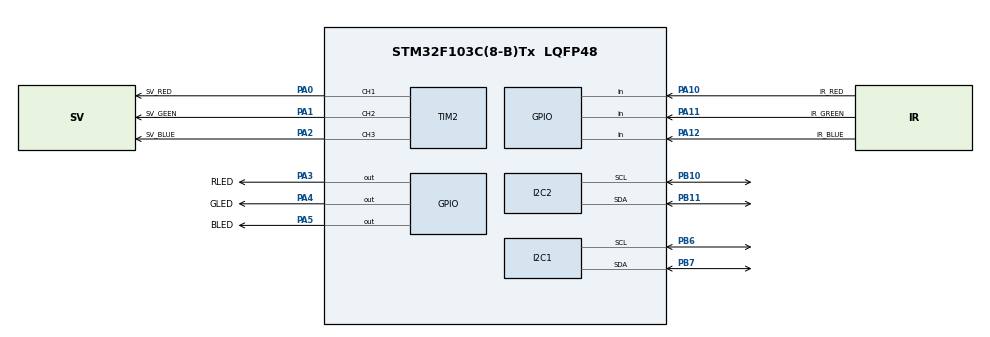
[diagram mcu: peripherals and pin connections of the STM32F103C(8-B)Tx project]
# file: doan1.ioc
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I2C1.I2C_Mode=I2C_Fast
Mcu.Family=STM32F1
Mcu.Name=STM32F103C(8-B)Tx
Mcu.Package=LQFP48
NVIC.PriorityGroup=NVIC_PRIORITYGROUP_4
PA0-WKUP.GPIO_Label=SV_RED
PA0-WKUP.Signal=S_TIM2_CH1_ETR
PA1.GPIO_Label=SV_GEEN
PA1.Signal=S_TIM2_CH2
PA10.GPIO_Label=IR_RED
PA10.Signal=GPIO_Input
PA11.GPIO_Label=IR_GREEN
PA11.Signal=GPIO_Input
PA12.GPIO_Label=IR_BLUE
PA12.Signal=GPIO_Input
PA13.Mode=Serial_Wire
PA13.Signal=SYS_JTMS-SWDIO
PA14.Mode=Serial_Wire
PA14.Signal=SYS_JTCK-SWCLK
PA2.GPIO_Label=SV_BLUE
PA2.Signal=S_TIM2_CH3
PA3.GPIO_Label=RLED
PA3.Signal=GPIO_Output
PA4.GPIO_Label=GLED
PA4.Signal=GPIO_Output
PA5.GPIO_Label=BLED
PA5.Signal=GPIO_Output
PB10.Mode=I2C
PB10.Signal=I2C2_SCL
PB11.Mode=I2C
PB11.Signal=I2C2_SDA
PB6.Mode=I2C
PB6.Signal=I2C1_SCL
PB7.Mode=I2C
PB7.Signal=I2C1_SDA
PD0-OSC_IN.Mode=HSE-External-Oscillator
PD0-OSC_IN.Signal=RCC_OSC_IN
PD1-OSC_OUT.Mode=HSE-External-Oscillator
PD1-OSC_OUT.Signal=RCC_OSC_OUT
ProjectManager.HeapSize=0x200
ProjectManager.StackSize=0x400
ProjectManager.TargetToolchain=MDK-ARM V5.32
RCC.AHBFreq_Value=72000000
RCC.APB1CLKDivider=RCC_HCLK_DIV2
RCC.APB1Freq_Value=36000000
RCC.APB1TimFreq_Value=72000000
RCC.APB2Freq_Value=72000000
RCC.APB2TimFreq_Value=72000000
RCC.HCLKFreq_Value=72000000
RCC.PLLMUL=RCC_PLL_MUL9
RCC.PLLSourceVirtual=RCC_PLLSOURCE_HSE
RCC.SYSCLKFreq_VALUE=72000000
RCC.SYSCLKSource=RCC_SYSCLKSOURCE_PLLCLK
RCC.USBFreq_Value=72000000
SH.S_TIM2_CH1_ETR.0=TIM2_CH1,PWM Generation1 CH1
SH.S_TIM2_CH2.0=TIM2_CH2,Output Compare2 CH2
SH.S_TIM2_CH3.0=TIM2_CH3,PWM Generation3 CH3
TIM2.Channel-Output\ Compare2\ CH2=TIM_CHANNEL_2
TIM2.Channel-PWM\ Generation1\ CH1=TIM_CHANNEL_1
TIM2.Channel-PWM\ Generation3\ CH3=TIM_CHANNEL_3
VP_TIM2_VS_ClockSourceINT.Mode=Internal
board=custom

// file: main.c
	/* USER CODE BEGIN Header */
	/**
		******************************************************************************
		* @file           : main.c
		* @brief          : Main program body
		******************************************************************************
		* @attention
		*
		* Copyright (c) 2026 STMicroelectronics.
		* All rights reserved.
		*
		* This software is licensed under terms that can be found in the LICENSE file
		* in the root directory of this software component.
		* If no LICENSE file comes with this software, it is provided AS-IS.
		*
		******************************************************************************
		*/
	/* USER CODE END Header */
	/* Includes ------------------------------------------------------------------*/
	#include "main.h"

	/* Private includes ----------------------------------------------------------*/
	/* USER CODE BEGIN Includes */
	#include "tcs34725.h"
	#include "i2c_lcd.h"
	#include "stdio.h"
	/* USER CODE END Includes */

	/* Private typedef -----------------------------------------------------------*/

	/* Private define ------------------------------------------------------------*/

	/* Private macro -------------------------------------------------------------*/

	/* Private variables ---------------------------------------------------------*/
	I2C_HandleTypeDef hi2c1;
	I2C_HandleTypeDef hi2c2;

	TIM_HandleTypeDef htim2;

	/* USER CODE BEGIN PV */
	int red, green, blue;

	char lcd_buffer[20];
	/* USER CODE END PV */

	/* Private function prototypes -----------------------------------------------*/
	void SystemClock_Config(void);
	static void MX_GPIO_Init(void);
	static void MX_I2C1_Init(void);
	static void MX_I2C2_Init(void);
	static void MX_TIM2_Init(void);

	/* Private user code ---------------------------------------------------------*/
	/* USER CODE BEGIN 0 */

	#define RED     1
	#define GREEN   2
	#define BLUE    3

	uint8_t currentColor = 0;
	uint8_t statetcs = 0;

	uint16_t redCount = 0;
	uint16_t greenCount = 0;
	uint16_t blueCount = 0;

	void Servo_Init(void)
	{
		HAL_TIM_PWM_Start(&htim2, TIM_CHANNEL_1);
		HAL_TIM_PWM_Start(&htim2, TIM_CHANNEL_2);
		HAL_TIM_PWM_Start(&htim2, TIM_CHANNEL_3);

	}

	void Servo_Write(uint8_t channel, uint8_t goc)
	{

		uint16_t pulse = ((2000 * goc) / 180) + 500;

		switch(channel){

			case 1:
				__HAL_TIM_SET_COMPARE(&htim2, TIM_CHANNEL_1, pulse);
			break;

			case 2:
				__HAL_TIM_SET_COMPARE(&htim2, TIM_CHANNEL_2, pulse);
			break;

			case 3:
				__HAL_TIM_SET_COMPARE(&htim2, TIM_CHANNEL_3, pulse);
			break;

		}

	}

	/* servo gat*/
	void Servo_GatR(uint8_t channel)
	{
		Servo_Write(channel, 0);
	}

	/*servo quay ve vi tri ban dau*/
	void Servo_veR(uint8_t channel)
	{
		Servo_Write(channel, 90);
	}

	void Servo_gatG(uint8_t channel)
	{
		Servo_Write(channel, 90);
	}

	void Servo_veG(uint8_t channel)
	{
		Servo_Write(channel, 0);
	}

	void LED_OFF(void)
	{
		HAL_GPIO_WritePin(GPIOA,
				RLED_Pin | GLED_Pin | BLED_Pin,
				GPIO_PIN_RESET);
	}

	void LED_RED(void)
	{
		LED_OFF();
		HAL_GPIO_WritePin(GPIOA, RLED_Pin, GPIO_PIN_SET);
		HAL_GPIO_WritePin(GPIOA, BLED_Pin | GLED_Pin, GPIO_PIN_RESET);

	}

	void LED_GREEN(void)
	{
		LED_OFF();
		HAL_GPIO_WritePin(GPIOA, GLED_Pin, GPIO_PIN_SET);
		HAL_GPIO_WritePin(GPIOA, BLED_Pin | RLED_Pin, GPIO_PIN_RESET);
	}

	void LED_BLUE(void)
	{
		LED_OFF();
		HAL_GPIO_WritePin(GPIOA, BLED_Pin, GPIO_PIN_SET);
		HAL_GPIO_WritePin(GPIOA, GLED_Pin | RLED_Pin, GPIO_PIN_RESET);
	}

	void LCD_Update(void)
	{
			sprintf(lcd_buffer, "R:%d  G:%d       ",
							redCount,
							greenCount);

			lcd_gotoxy(0,0);
			lcd_send_string(lcd_buffer);

			sprintf(lcd_buffer, "B:%d      ",
							blueCount);

			lcd_gotoxy(1,0);
			lcd_send_string(lcd_buffer);
	}

	/* USER CODE END 0 */

	/**
		* @brief  The application entry point.
		* @retval int
		*/
	int main(void)
 	{

		/* MCU Configuration--------------------------------------------------------*/

		/* Reset of all peripherals, Initializes the Flash interface and the Systick. */
		HAL_Init();

		/* Configure the system clock */
		SystemClock_Config();

		/* Initialize all configured peripherals */
		MX_GPIO_Init();
		MX_I2C1_Init();
		MX_I2C2_Init();
		MX_TIM2_Init();
		/* USER CODE BEGIN 2 */

		Servo_Init();

		Servo_Write(1, 0);
		Servo_Write(2, 0);
		Servo_Write(3, 0);

		LED_OFF();
		lcd_init();
		TCS34725_Init(&hi2c1);

		/* USER CODE END 2 */

		/* Infinite loop */
		while (1)
		{

			/* USER CODE BEGIN 3 */

		/* 	   DOC CAM BIEN MAU  */

	/* luu trang thai tcs*/

		if( statetcs == 0){
			Servo_veR(1);
			Servo_veG(2);

			TCS34725_GetRGB(&red , &green, &blue);

				if(red == 0 && green == 0 && blue == 0)
				{
				currentColor = 0;
				statetcs = 0;
				LED_OFF();
				}

			/* RED */
			else if(red > green  && red > blue )
			{
				currentColor = RED;
				statetcs = 1;
				LED_RED();
			}

			/* GREEN */
			else if(green > red  && green > blue )
			{
				currentColor = GREEN;
				statetcs = 1;
				LED_GREEN();
			}

			/* BLUE */
			else if(blue > red && blue > green)
			{
				currentColor = BLUE;
				statetcs = 1;
				LED_BLUE();
			}
	}
			/* IR + SERVO */

		if(statetcs == 1){
		/* RED */
		if(currentColor == RED){
			if(HAL_GPIO_ReadPin(GPIOA, IR_RED_Pin) == GPIO_PIN_RESET)
		{
				Servo_GatR(1);
				redCount++;
				HAL_Delay(5000);

				currentColor = 0;
				statetcs = 0;
				LED_OFF();
			}
		}
		/* GREEN */
		else if(currentColor == GREEN){
		 if(HAL_GPIO_ReadPin(GPIOA, IR_GREEN_Pin) == GPIO_PIN_RESET)
		{

				Servo_gatG(2);
				greenCount++;
				HAL_Delay(5000);

				currentColor = 0;
				statetcs = 0;
				LED_OFF();
			}
		}

		/* BLUE */

		else if(currentColor == BLUE){
				blueCount++;
				HAL_Delay(6000);
				statetcs = 0;
				currentColor = 0;
				LED_OFF();
		}
		}
		HAL_Delay(50);
		LCD_Update();
	}
		/* USER CODE END 3 */
	}

	/**
		* @brief System Clock Configuration
		* @retval None
		*/
	void SystemClock_Config(void)
	{
		RCC_OscInitTypeDef RCC_OscInitStruct = {0};
		RCC_ClkInitTypeDef RCC_ClkInitStruct = {0};

		/** Initializes the RCC Oscillators according to the specified parameters
		* in the RCC_OscInitTypeDef structure.
		*/
		RCC_OscInitStruct.OscillatorType = RCC_OSCILLATORTYPE_HSE;
		RCC_OscInitStruct.HSEState = RCC_HSE_ON;
		RCC_OscInitStruct.HSEPredivValue = RCC_HSE_PREDIV_DIV1;
		RCC_OscInitStruct.HSIState = RCC_HSI_ON;
		RCC_OscInitStruct.PLL.PLLState = RCC_PLL_ON;
		RCC_OscInitStruct.PLL.PLLSource = RCC_PLLSOURCE_HSE;
		RCC_OscInitStruct.PLL.PLLMUL = RCC_PLL_MUL9;
		if (HAL_RCC_OscConfig(&RCC_OscInitStruct) != HAL_OK)
		{
			Error_Handler();
		}

		/** Initializes the CPU, AHB and APB buses clocks
		*/
		RCC_ClkInitStruct.ClockType = RCC_CLOCKTYPE_HCLK|RCC_CLOCKTYPE_SYSCLK
																|RCC_CLOCKTYPE_PCLK1|RCC_CLOCKTYPE_PCLK2;
		RCC_ClkInitStruct.SYSCLKSource = RCC_SYSCLKSOURCE_PLLCLK;
		RCC_ClkInitStruct.AHBCLKDivider = RCC_SYSCLK_DIV1;
		RCC_ClkInitStruct.APB1CLKDivider = RCC_HCLK_DIV2;
		RCC_ClkInitStruct.APB2CLKDivider = RCC_HCLK_DIV1;

		if (HAL_RCC_ClockConfig(&RCC_ClkInitStruct, FLASH_LATENCY_2) != HAL_OK)
		{
			Error_Handler();
		}
	}

	/**
		* @brief I2C1 Initialization Function
		* @param None
		* @retval None
		*/
	static void MX_I2C1_Init(void)
	{

		hi2c1.Instance = I2C1;
		hi2c1.Init.ClockSpeed = 400000;
		hi2c1.Init.DutyCycle = I2C_DUTYCYCLE_2;
		hi2c1.Init.OwnAddress1 = 0;
		hi2c1.Init.AddressingMode = I2C_ADDRESSINGMODE_7BIT;
		hi2c1.Init.DualAddressMode = I2C_DUALADDRESS_DISABLE;
		hi2c1.Init.OwnAddress2 = 0;
		hi2c1.Init.GeneralCallMode = I2C_GENERALCALL_DISABLE;
		hi2c1.Init.NoStretchMode = I2C_NOSTRETCH_DISABLE;
		if (HAL_I2C_Init(&hi2c1) != HAL_OK)
		{
			Error_Handler();
		}

	}

	/**
		* @brief I2C2 Initialization Function
		* @param None
		* @retval None
		*/
	static void MX_I2C2_Init(void)
	{

		hi2c2.Instance = I2C2;
		hi2c2.Init.ClockSpeed = 100000;
		hi2c2.Init.DutyCycle = I2C_DUTYCYCLE_2;
		hi2c2.Init.OwnAddress1 = 0;
		hi2c2.Init.AddressingMode = I2C_ADDRESSINGMODE_7BIT;
		hi2c2.Init.DualAddressMode = I2C_DUALADDRESS_DISABLE;
		hi2c2.Init.OwnAddress2 = 0;
		hi2c2.Init.GeneralCallMode = I2C_GENERALCALL_DISABLE;
		hi2c2.Init.NoStretchMode = I2C_NOSTRETCH_DISABLE;
		if (HAL_I2C_Init(&hi2c2) != HAL_OK)
		{
			Error_Handler();
		}

	}

	/**
		* @brief TIM2 Initialization Function
		* @param None
		* @retval None
		*/
	static void MX_TIM2_Init(void)
	{

		TIM_ClockConfigTypeDef sClockSourceConfig = {0};
		TIM_MasterConfigTypeDef sMasterConfig = {0};
		TIM_OC_InitTypeDef sConfigOC = {0};

		htim2.Instance = TIM2;
		htim2.Init.Prescaler = 71;
		htim2.Init.CounterMode = TIM_COUNTERMODE_UP;
		htim2.Init.Period = 19999;
		htim2.Init.ClockDivision = TIM_CLOCKDIVISION_DIV1;
		htim2.Init.AutoReloadPreload = TIM_AUTORELOAD_PRELOAD_DISABLE;
		if (HAL_TIM_Base_Init(&htim2) != HAL_OK)
		{
			Error_Handler();
		}
		sClockSourceConfig.ClockSource = TIM_CLOCKSOURCE_INTERNAL;
		if (HAL_TIM_ConfigClockSource(&htim2, &sClockSourceConfig) != HAL_OK)
		{
			Error_Handler();
		}
		if (HAL_TIM_PWM_Init(&htim2) != HAL_OK)
		{
			Error_Handler();
		}
		if (HAL_TIM_OC_Init(&htim2) != HAL_OK)
		{
			Error_Handler();
		}
		sMasterConfig.MasterOutputTrigger = TIM_TRGO_RESET;
		sMasterConfig.MasterSlaveMode = TIM_MASTERSLAVEMODE_DISABLE;
		if (HAL_TIMEx_MasterConfigSynchronization(&htim2, &sMasterConfig) != HAL_OK)
		{
			Error_Handler();
		}
		sConfigOC.OCMode = TIM_OCMODE_PWM1;
		sConfigOC.Pulse = 0;
		sConfigOC.OCPolarity = TIM_OCPOLARITY_HIGH;
		sConfigOC.OCFastMode = TIM_OCFAST_DISABLE;
		if (HAL_TIM_PWM_ConfigChannel(&htim2, &sConfigOC, TIM_CHANNEL_1) != HAL_OK)
		{
			Error_Handler();
		}
		sConfigOC.OCMode = TIM_OCMODE_PWM1;
		if (HAL_TIM_OC_ConfigChannel(&htim2, &sConfigOC, TIM_CHANNEL_2) != HAL_OK)
		{
			Error_Handler();
		}
		sConfigOC.OCMode = TIM_OCMODE_PWM1;
		if (HAL_TIM_PWM_ConfigChannel(&htim2, &sConfigOC, TIM_CHANNEL_3) != HAL_OK)
		{
			Error_Handler();
		}
		HAL_TIM_MspPostInit(&htim2);

	}

	/**
		* @brief GPIO Initialization Function
		* @param None
		* @retval None
		*/
	static void MX_GPIO_Init(void)
	{
		GPIO_InitTypeDef GPIO_InitStruct = {0};

		/* GPIO Ports Clock Enable */
		__HAL_RCC_GPIOD_CLK_ENABLE();
		__HAL_RCC_GPIOA_CLK_ENABLE();
		__HAL_RCC_GPIOB_CLK_ENABLE();

		/*Configure GPIO pin Output Level */
		HAL_GPIO_WritePin(GPIOA, RLED_Pin|GLED_Pin|BLED_Pin, GPIO_PIN_RESET);

		/*Configure GPIO pins : RLED_Pin GLED_Pin BLED_Pin */
		GPIO_InitStruct.Pin = RLED_Pin|GLED_Pin|BLED_Pin;
		GPIO_InitStruct.Mode = GPIO_MODE_OUTPUT_PP;
		GPIO_InitStruct.Pull = GPIO_NOPULL;
		GPIO_InitStruct.Speed = GPIO_SPEED_FREQ_LOW;
		HAL_GPIO_Init(GPIOA, &GPIO_InitStruct);

		/*Configure GPIO pins : IR_RED_Pin IR_GREEN_Pin IR_BLUE_Pin */
		GPIO_InitStruct.Pin = IR_RED_Pin|IR_GREEN_Pin|IR_BLUE_Pin;
		GPIO_InitStruct.Mode = GPIO_MODE_INPUT;
		GPIO_InitStruct.Pull = GPIO_NOPULL;
		HAL_GPIO_Init(GPIOA, &GPIO_InitStruct);

	}

	/**
		* @brief  This function is executed in case of error occurrence.
		* @retval None
		*/
	void Error_Handler(void)
	{
		__disable_irq();
		while (1)
		{
		}
	}
	#ifdef USE_FULL_ASSERT
	/**
		* @brief  Reports the name of the source file and the source line number
		*         where the assert_param error has occurred.
		* @param  file: pointer to the source file name
		* @param  line: assert_param error line source number
		* @retval None
		*/
	void assert_failed(uint8_t *file, uint32_t line)
	{
	}
	#endif /* USE_FULL_ASSERT */
